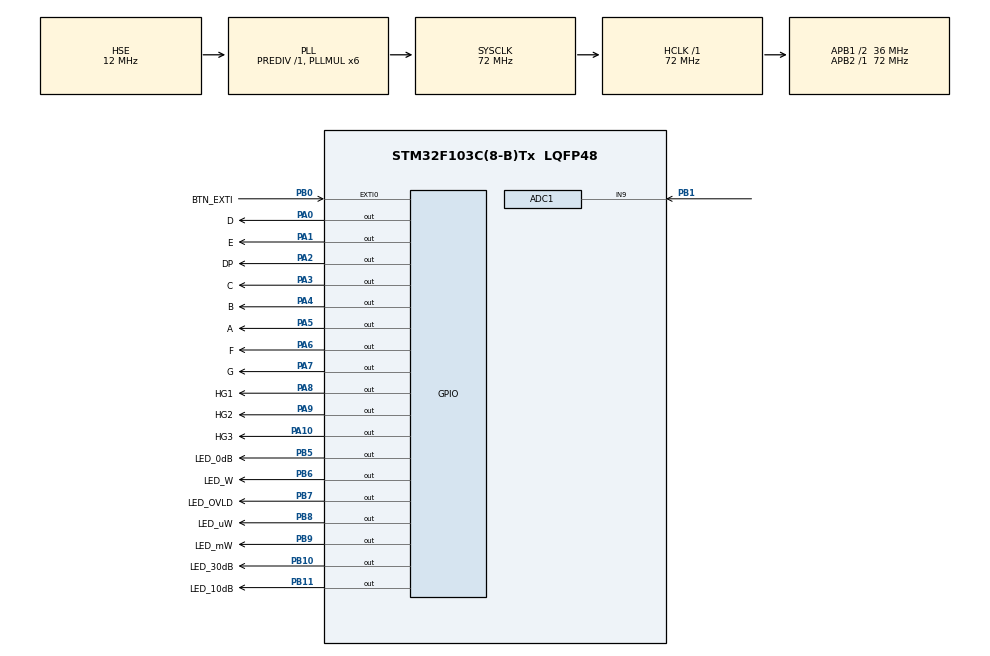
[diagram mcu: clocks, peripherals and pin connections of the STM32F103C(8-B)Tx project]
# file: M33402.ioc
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ADC1.Channel-0\#ChannelRegularConversion=ADC_CHANNEL_9
ADC1.InjNumberOfConversion=0
ADC1.NbrOfConversionFlag=1
ADC1.Rank-0\#ChannelRegularConversion=1
ADC1.SamplingTime-0\#ChannelRegularConversion=ADC_SAMPLETIME_239CYCLES_5
ADC1.master=1
Mcu.Family=STM32F1
Mcu.Name=STM32F103C(8-B)Tx
Mcu.Package=LQFP48
NVIC.EXTI0_IRQn=true\:0\:0\:false\:false\:true\:true\:true
NVIC.PriorityGroup=NVIC_PRIORITYGROUP_4
NVIC.TIM2_IRQn=true\:0\:0\:false\:false\:true\:true\:true
PA0-WKUP.GPIO_Label=D
PA0-WKUP.GPIO_Speed=GPIO_SPEED_FREQ_MEDIUM
PA0-WKUP.PinState=GPIO_PIN_SET
PA0-WKUP.Signal=GPIO_Output
PA1.GPIO_Label=E
PA1.GPIO_Speed=GPIO_SPEED_FREQ_MEDIUM
PA1.PinState=GPIO_PIN_SET
PA1.Signal=GPIO_Output
PA10.GPIO_Label=HG3
PA10.GPIO_Speed=GPIO_SPEED_FREQ_MEDIUM
PA10.PinState=GPIO_PIN_SET
PA10.Signal=GPIO_Output
PA13.Mode=JTAG_5_pins
PA13.Signal=SYS_JTMS-SWDIO
PA14.Mode=JTAG_5_pins
PA14.Signal=SYS_JTCK-SWCLK
PA15.Mode=JTAG_5_pins
PA15.Signal=SYS_JTDI
PA2.GPIO_Label=DP
PA2.GPIO_Speed=GPIO_SPEED_FREQ_MEDIUM
PA2.PinState=GPIO_PIN_SET
PA2.Signal=GPIO_Output
PA3.GPIO_Label=C
PA3.GPIO_Speed=GPIO_SPEED_FREQ_MEDIUM
PA3.PinState=GPIO_PIN_SET
PA3.Signal=GPIO_Output
PA4.GPIO_Label=B
PA4.GPIO_Speed=GPIO_SPEED_FREQ_MEDIUM
PA4.PinState=GPIO_PIN_SET
PA4.Signal=GPIO_Output
PA5.GPIO_Label=A
PA5.GPIO_Speed=GPIO_SPEED_FREQ_MEDIUM
PA5.PinState=GPIO_PIN_SET
PA5.Signal=GPIO_Output
PA6.GPIO_Label=F
PA6.GPIO_Speed=GPIO_SPEED_FREQ_MEDIUM
PA6.PinState=GPIO_PIN_SET
PA6.Signal=GPIO_Output
PA7.GPIO_Label=G
PA7.GPIO_Speed=GPIO_SPEED_FREQ_MEDIUM
PA7.PinState=GPIO_PIN_SET
PA7.Signal=GPIO_Output
PA8.GPIO_Label=HG1
PA8.GPIO_Speed=GPIO_SPEED_FREQ_MEDIUM
PA8.PinState=GPIO_PIN_SET
PA8.Signal=GPIO_Output
PA9.GPIO_Label=HG2
PA9.GPIO_Speed=GPIO_SPEED_FREQ_MEDIUM
PA9.PinState=GPIO_PIN_SET
PA9.Signal=GPIO_Output
PB0.GPIO_Label=BTN_EXTI
PB0.GPIO_PuPd=GPIO_PULLDOWN
PB0.Signal=GPXTI0
PB1.Signal=ADCx_IN9
PB10.GPIO_Label=LED_30dB
PB10.Signal=GPIO_Output
PB11.GPIO_Label=LED_10dB
PB11.Signal=GPIO_Output
PB3.Mode=JTAG_5_pins
PB3.Signal=SYS_JTDO-TRACESWO
PB4.Mode=JTAG_5_pins
PB4.Signal=SYS_NJTRST
PB5.GPIO_Label=LED_0dB
PB5.Signal=GPIO_Output
PB6.GPIO_Label=LED_W
PB6.Signal=GPIO_Output
PB7.GPIO_Label=LED_OVLD
PB7.Signal=GPIO_Output
PB8.GPIO_Label=LED_uW
PB8.Signal=GPIO_Output
PB9.GPIO_Label=LED_mW
PB9.Signal=GPIO_Output
PD0-OSC_IN.Mode=HSE-External-Oscillator
PD0-OSC_IN.Signal=RCC_OSC_IN
PD1-OSC_OUT.Mode=HSE-External-Oscillator
PD1-OSC_OUT.Signal=RCC_OSC_OUT
ProjectManager.HeapSize=0x200
ProjectManager.StackSize=0x400
ProjectManager.TargetToolchain=MDK-ARM V5
RCC.ADCPresc=RCC_ADCPCLK2_DIV8
RCC.AHBFreq_Value=72000000
RCC.APB1CLKDivider=RCC_HCLK_DIV2
RCC.APB1Freq_Value=36000000
RCC.APB1TimFreq_Value=72000000
RCC.APB2Freq_Value=72000000
RCC.APB2TimFreq_Value=72000000
RCC.HCLKFreq_Value=72000000
RCC.HSE_VALUE=12000000
RCC.PLLMUL=RCC_PLL_MUL6
RCC.PLLSourceVirtual=RCC_PLLSOURCE_HSE
RCC.SYSCLKFreq_VALUE=72000000
RCC.SYSCLKSource=RCC_SYSCLKSOURCE_PLLCLK
RCC.USBFreq_Value=72000000
SH.ADCx_IN9.0=ADC1_IN9,IN9
TIM2.Period=10
TIM2.Prescaler=35999
TIM2.TIM_MasterOutputTrigger=TIM_TRGO_UPDATE
VP_TIM2_VS_ClockSourceINT.Mode=Internal
board=custom

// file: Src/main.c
/* USER CODE BEGIN Header */
/**
  ******************************************************************************
  * @file           : main.c
  * @brief          : M33402 Power detector
  ******************************************************************************
  * Date:            10.01.2020
  * Auhtor:          Oleg Borisenko
  ******************************************************************************
  * Part of this program code was generated using STM32Cube initialization
  * code generator
  *
  * Copyright (c) 2019 STMicroelectronics.
  * All rights reserved.
  *
  * This software component is licensed by ST under BSD 3-Clause license,
  * the "License"; You may not use this file except in compliance with the
  * License. You may obtain a copy of the License at:
  *                        opensource.org/licenses/BSD-3-Clause
  *
  ******************************************************************************
  */
/* USER CODE END Header */

#include "main.h"

/* USER CODE BEGIN Includes */
#include <math.h>
#include "7seg_led.h"

/* USER CODE END Includes */

ADC_HandleTypeDef hadc1;
TIM_HandleTypeDef htim2;

void SystemClock_Config(void);
static void MX_GPIO_Init(void);
static void MX_ADC1_Init(void);
static void MX_TIM2_Init(void);

/* USER CODE BEGIN 0 */

// Экспоненциальное усреднение

/**	Yn = (Yn-1 * K) + Xn * (1-K),
 	где Yn - отфильтрованное значение
 		Yn-1 - отфильтрованное на предыдущем пересчёте значение
 		Xn - фильтруемые значения
 		K - коэффициент фильтрации (0..1)
 **/

void average(uint16_t *input, uint16_t *output, const float coeff)
{

	*output = (*output * coeff) + *input * (1 - coeff);
}

// Сортировка массива целочисленных значений вставками

/**	@*arrayPtr - указатель на массив
 **	@lenght - кол-во элементов массива
 **/

void sort_array(int *arrayPtr, int length)
{
	int temp;
	int item;

	for (int counter = 1; counter < length; counter++)
	{
		temp = arrayPtr[counter];
		item = counter - 1;

		while (item >= 0 && arrayPtr[item] > temp)
		{
			arrayPtr[item + 1] = arrayPtr[item];
			arrayPtr[item] = temp;
			item--;
		}
	}
}

const float v_amp = 3;	// Коэффициент передачи напряжения детектора

uint8_t atten = 0;

int adc_value = 0;
int adc_avg = 0;
int adc_buf[100] = { 0 };
int tmp;

float U = 0.0;
float P = 0.0;

// Математическая модель детектора М33402-16

/* General model Fourier1:
     f(x) =  a0 + a1*cos(x*w) + b1*sin(x*w)
Coefficients (with 95% confidence bounds):
       a0 =       45.53  (32.1, 58.97)
       a1 =      -45.53  (-58.97, -32.09)
       b1 =       2.255  (1.749, 2.76)
       w =   0.0006955  (0.0005855, 0.0008055)

Goodness of fit:
  SSE: 0.0223
  R-square: 1
  Adjusted R-square: 1
  RMSE: 0.01736
*/

float a0 = 45.53;
float a1 = -45.53;
float b1 = 2.255;
float w = 0.0006955;

/*	Выходное напряжение детектора, мВ
*/
float get_voltage(unsigned int adc_value) {

	return (adc_value * 3275 / 4095) / v_amp;
}

/*	Мощность на детекторе, мВт
*/
float calculate_power(float voltage) {

	return a0 + a1 * cos(voltage * w) + b1 * sin(voltage * w);
}

float convert_to_uw(float power) {

	float value;

	value = power * 1000;

	if (value < 100) {

		value = round(value * 10) / 10;
	}
	else
		value = round(value);

	HAL_GPIO_WritePin(LED_W_GPIO_Port, LED_W_Pin, GPIO_PIN_RESET);
	HAL_GPIO_WritePin(LED_mW_GPIO_Port, LED_mW_Pin, GPIO_PIN_RESET);
	HAL_GPIO_WritePin(LED_uW_GPIO_Port, LED_uW_Pin, GPIO_PIN_SET);

	return value;
}

float convert_to_mw(float power) {

	float value;

	value = power;

	if (value < 10) {

		value = round(value * 100) / 100;
	}
	else if (value > 100) {

		value = round(value);
	}
	else {

		value = round(value * 10) / 10;
	}

	HAL_GPIO_WritePin(LED_W_GPIO_Port, LED_W_Pin, GPIO_PIN_RESET);
	HAL_GPIO_WritePin(LED_uW_GPIO_Port, LED_uW_Pin, GPIO_PIN_RESET);
	HAL_GPIO_WritePin(LED_mW_GPIO_Port, LED_mW_Pin, GPIO_PIN_SET);

	return value;
}

float convert_to_w(float power) {

	float value;

	value = power / 1000;

	if (value < 10) {

		value = round(value * 100) / 100;
	}
	else {

		value = round(value * 10) / 10;
	}

	HAL_GPIO_WritePin(LED_uW_GPIO_Port, LED_uW_Pin, GPIO_PIN_RESET);
	HAL_GPIO_WritePin(LED_mW_GPIO_Port, LED_mW_Pin, GPIO_PIN_RESET);
	HAL_GPIO_WritePin(LED_W_GPIO_Port, LED_W_Pin, GPIO_PIN_SET);

	return value;
}

/*	Мощность на детекторе превышает допустимое значение
 */
void is_ovld() {

	if (U >= 950)
	{
		HAL_GPIO_WritePin(LED_OVLD_GPIO_Port, LED_OVLD_Pin, GPIO_PIN_SET);
	}
	else
	{
		HAL_GPIO_WritePin(LED_OVLD_GPIO_Port, LED_OVLD_Pin, GPIO_PIN_RESET);
	}
}

/*	Пересчёт мощности с учетом подключенного к детектору аттенюатора */
void set_atten()
{
	switch (atten) {

	case 0:
		HAL_GPIO_WritePin(LED_0dB_GPIO_Port, LED_0dB_Pin, GPIO_PIN_SET);
		HAL_GPIO_WritePin(LED_10dB_GPIO_Port, LED_10dB_Pin, GPIO_PIN_RESET);
		HAL_GPIO_WritePin(LED_30dB_GPIO_Port, LED_30dB_Pin, GPIO_PIN_RESET);
		break;

	case 1:
		P = P * 10;
		HAL_GPIO_WritePin(LED_10dB_GPIO_Port, LED_10dB_Pin, GPIO_PIN_SET);
		HAL_GPIO_WritePin(LED_0dB_GPIO_Port, LED_0dB_Pin, GPIO_PIN_RESET);
		HAL_GPIO_WritePin(LED_30dB_GPIO_Port, LED_30dB_Pin, GPIO_PIN_RESET);
		break;

	case 2:
		P = P * 1000;
		HAL_GPIO_WritePin(LED_30dB_GPIO_Port, LED_30dB_Pin, GPIO_PIN_SET);
		HAL_GPIO_WritePin(LED_0dB_GPIO_Port, LED_0dB_Pin, GPIO_PIN_RESET);
		HAL_GPIO_WritePin(LED_10dB_GPIO_Port, LED_10dB_Pin, GPIO_PIN_RESET);
		break;
	}
}

void get_range() {

	if (P < 1) {

		P = convert_to_uw(P);
	}
	else
		if (P < 1000) {

		P = convert_to_mw(P);
	}
	else {

		P = convert_to_w(P);
	}
}

/* USER CODE END 0 */

int main(void)
{

  /* MCU Configuration--------------------------------------------------------*/

  /* Reset of all peripherals, Initializes the Flash interface and the Systick. */
  HAL_Init();

  /* Configure the system clock */
  SystemClock_Config();

  /* Initialize all configured peripherals */
  MX_GPIO_Init();
  MX_ADC1_Init();
  MX_TIM2_Init();
  /* USER CODE BEGIN 2 */

//	HAL_ADCEx_Calibration_Start(&hadc1);
	HAL_TIM_Base_Start_IT(&htim2);
	HAL_ADCEx_Calibration_Start(&hadc1);

  /* USER CODE END 2 */

  /* Infinite loop */
  while (1)
  {

    /* USER CODE BEGIN 3 */

	  for(int i = 0 ; i < 100 ; i++)
	  {
		  HAL_ADC_Start(&hadc1);
		  HAL_ADC_PollForConversion(&hadc1, 100);
		  adc_buf[i] = HAL_ADC_GetValue(&hadc1);
		  HAL_ADC_Stop(&hadc1);
	  }

	  sort_array(adc_buf, 100);
	  adc_avg = (adc_buf[48] + adc_buf[49] + adc_buf[50]) / 3;

	  if (adc_avg <= 8) adc_avg = 0;

	  U = get_voltage(adc_avg);
	  P = calculate_power(U);

	  is_ovld();
	  set_atten();
	  get_range();

	  led_print(P);

	  HAL_Delay(200);

  }
  /* USER CODE END 3 */
}

void SystemClock_Config(void)
{
  RCC_OscInitTypeDef RCC_OscInitStruct = {0};
  RCC_ClkInitTypeDef RCC_ClkInitStruct = {0};
  RCC_PeriphCLKInitTypeDef PeriphClkInit = {0};

  /** Initializes the CPU, AHB and APB busses clocks
  */
  RCC_OscInitStruct.OscillatorType = RCC_OSCILLATORTYPE_HSE;
  RCC_OscInitStruct.HSEState = RCC_HSE_ON;
  RCC_OscInitStruct.HSEPredivValue = RCC_HSE_PREDIV_DIV1;
  RCC_OscInitStruct.HSIState = RCC_HSI_ON;
  RCC_OscInitStruct.PLL.PLLState = RCC_PLL_ON;
  RCC_OscInitStruct.PLL.PLLSource = RCC_PLLSOURCE_HSE;
  RCC_OscInitStruct.PLL.PLLMUL = RCC_PLL_MUL6;
  if (HAL_RCC_OscConfig(&RCC_OscInitStruct) != HAL_OK)
  {
    Error_Handler();
  }
  /** Initializes the CPU, AHB and APB busses clocks
  */
  RCC_ClkInitStruct.ClockType = RCC_CLOCKTYPE_HCLK|RCC_CLOCKTYPE_SYSCLK
                              |RCC_CLOCKTYPE_PCLK1|RCC_CLOCKTYPE_PCLK2;
  RCC_ClkInitStruct.SYSCLKSource = RCC_SYSCLKSOURCE_PLLCLK;
  RCC_ClkInitStruct.AHBCLKDivider = RCC_SYSCLK_DIV1;
  RCC_ClkInitStruct.APB1CLKDivider = RCC_HCLK_DIV2;
  RCC_ClkInitStruct.APB2CLKDivider = RCC_HCLK_DIV1;

  if (HAL_RCC_ClockConfig(&RCC_ClkInitStruct, FLASH_LATENCY_2) != HAL_OK)
  {
    Error_Handler();
  }
  PeriphClkInit.PeriphClockSelection = RCC_PERIPHCLK_ADC;
  PeriphClkInit.AdcClockSelection = RCC_ADCPCLK2_DIV8;
  if (HAL_RCCEx_PeriphCLKConfig(&PeriphClkInit) != HAL_OK)
  {
    Error_Handler();
  }
}

static void MX_ADC1_Init(void)
{

  ADC_ChannelConfTypeDef sConfig = {0};

  /** Common config
  */
  hadc1.Instance = ADC1;
  hadc1.Init.ScanConvMode = ADC_SCAN_DISABLE;
  hadc1.Init.ContinuousConvMode = DISABLE;
  hadc1.Init.DiscontinuousConvMode = DISABLE;
  hadc1.Init.ExternalTrigConv = ADC_SOFTWARE_START;
  hadc1.Init.DataAlign = ADC_DATAALIGN_RIGHT;
  hadc1.Init.NbrOfConversion = 1;
  if (HAL_ADC_Init(&hadc1) != HAL_OK)
  {
    Error_Handler();
  }
  /** Configure Regular Channel
  */
  sConfig.Channel = ADC_CHANNEL_9;
  sConfig.Rank = ADC_REGULAR_RANK_1;
  sConfig.SamplingTime = ADC_SAMPLETIME_239CYCLES_5;
  if (HAL_ADC_ConfigChannel(&hadc1, &sConfig) != HAL_OK)
  {
    Error_Handler();
  }

}

static void MX_TIM2_Init(void)
{

  TIM_ClockConfigTypeDef sClockSourceConfig = {0};
  TIM_MasterConfigTypeDef sMasterConfig = {0};

  htim2.Instance = TIM2;
  htim2.Init.Prescaler = 35999;
  htim2.Init.CounterMode = TIM_COUNTERMODE_UP;
  htim2.Init.Period = 10;
  htim2.Init.ClockDivision = TIM_CLOCKDIVISION_DIV1;
  htim2.Init.AutoReloadPreload = TIM_AUTORELOAD_PRELOAD_DISABLE;
  if (HAL_TIM_Base_Init(&htim2) != HAL_OK)
  {
    Error_Handler();
  }
  sClockSourceConfig.ClockSource = TIM_CLOCKSOURCE_INTERNAL;
  if (HAL_TIM_ConfigClockSource(&htim2, &sClockSourceConfig) != HAL_OK)
  {
    Error_Handler();
  }
  sMasterConfig.MasterOutputTrigger = TIM_TRGO_UPDATE;
  sMasterConfig.MasterSlaveMode = TIM_MASTERSLAVEMODE_DISABLE;
  if (HAL_TIMEx_MasterConfigSynchronization(&htim2, &sMasterConfig) != HAL_OK)
  {
    Error_Handler();
  }

}

static void MX_GPIO_Init(void)
{
  GPIO_InitTypeDef GPIO_InitStruct = {0};

  /* GPIO Ports Clock Enable */
  __HAL_RCC_GPIOD_CLK_ENABLE();
  __HAL_RCC_GPIOA_CLK_ENABLE();
  __HAL_RCC_GPIOB_CLK_ENABLE();

  /*Configure GPIO pin Output Level */
  HAL_GPIO_WritePin(GPIOA, D_Pin|E_Pin|DP_Pin|C_Pin
                          |B_Pin|A_Pin|F_Pin|G_Pin
                          |HG1_Pin|HG2_Pin|HG3_Pin, GPIO_PIN_SET);

  /*Configure GPIO pin Output Level */
  HAL_GPIO_WritePin(GPIOB, LED_30dB_Pin|LED_10dB_Pin|LED_0dB_Pin|LED_W_Pin
                          |LED_OVLD_Pin|LED_uW_Pin|LED_mW_Pin, GPIO_PIN_RESET);

  /*Configure GPIO pins : D_Pin E_Pin DP_Pin C_Pin
                           B_Pin A_Pin F_Pin G_Pin
                           HG1_Pin HG2_Pin HG3_Pin */
  GPIO_InitStruct.Pin = D_Pin|E_Pin|DP_Pin|C_Pin
                          |B_Pin|A_Pin|F_Pin|G_Pin
                          |HG1_Pin|HG2_Pin|HG3_Pin;
  GPIO_InitStruct.Mode = GPIO_MODE_OUTPUT_PP;
  GPIO_InitStruct.Pull = GPIO_NOPULL;
  GPIO_InitStruct.Speed = GPIO_SPEED_FREQ_MEDIUM;
  HAL_GPIO_Init(GPIOA, &GPIO_InitStruct);

  /*Configure GPIO pin : BTN_EXTI_Pin */
  GPIO_InitStruct.Pin = BTN_EXTI_Pin;
  GPIO_InitStruct.Mode = GPIO_MODE_IT_RISING;
  GPIO_InitStruct.Pull = GPIO_PULLDOWN;
  HAL_GPIO_Init(BTN_EXTI_GPIO_Port, &GPIO_InitStruct);

  /*Configure GPIO pins : LED_30dB_Pin LED_10dB_Pin LED_0dB_Pin LED_W_Pin
                           LED_OVLD_Pin LED_uW_Pin LED_mW_Pin */
  GPIO_InitStruct.Pin = LED_30dB_Pin|LED_10dB_Pin|LED_0dB_Pin|LED_W_Pin
                          |LED_OVLD_Pin|LED_uW_Pin|LED_mW_Pin;
  GPIO_InitStruct.Mode = GPIO_MODE_OUTPUT_PP;
  GPIO_InitStruct.Pull = GPIO_NOPULL;
  GPIO_InitStruct.Speed = GPIO_SPEED_FREQ_LOW;
  HAL_GPIO_Init(GPIOB, &GPIO_InitStruct);

  /* EXTI interrupt init*/
  HAL_NVIC_SetPriority(EXTI0_IRQn, 0, 0);
  HAL_NVIC_EnableIRQ(EXTI0_IRQn);

}

void Error_Handler(void)
{
}

/************************ (C) COPYRIGHT STMicroelectronics *****END OF FILE****/
